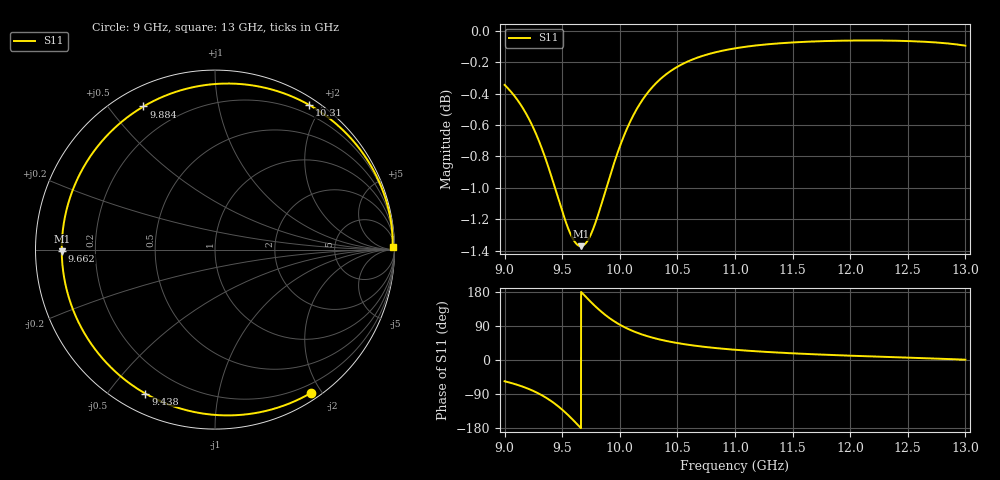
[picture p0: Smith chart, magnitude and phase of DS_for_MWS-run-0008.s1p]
! TOUCHSTONE file generated by CST DESIGN STUDIO
! Date and time: Tue Feb  4 16:05:17 2025
! Project name: C:\Work\MatlabApps\UnitCellOptimizationMatlab\CST\unitcell.cst
! Tree item: Tasks\Sweep1\SPara1\S-Parameters
! Header version: 2024
! Port assignment regex: !\s*Touchstone port\s*([0-9]+)\s*=\s*(CST MWS port|CST DES external port|CST DES block port)\s*(.+)\s* \(\"(.*)\"\)(\s*mode\s*([0-9]+))?.*
! Touchstone port assignment:
! Touchstone port 1 = CST DES external port 1 ("")
# GHz S MA R 50
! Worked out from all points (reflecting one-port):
!   4001 points, 9 GHz to 13 GHz, reference 50 ohm
!   lowest |S11| = -1.4 dB at 9.661 GHz (marker M1), VSWR 12.70, Z = 3.94 - j0.293 ohm
!   phase of S11 starts at -56 deg and turns -303 deg over the sweep
!   S11 on the Smith chart (normalised r, x): 9 GHz: 0.09, -1.87; 9.438 GHz: 0.08, -0.62; 9.662 GHz: 0.08, -0.00; 9.884 GHz: 0.08, +0.62; 10.31 GHz: 0.09, +1.84; 13 GHz: open
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9  0.961 -56.1
9.111  0.9506 -65.6
9.222  0.9358 -78.0
9.342  0.9134 -96.3
9.392  0.9021 -105.8
9.438  0.891 -115.8
9.5  0.8761 -131.1
9.542  0.867 -142.7
9.587  0.8594 -156.0
9.625  0.8553 -167.9
9.661  0.854 -179.3
9.662  0.854 -179.6
9.708  0.8562 165.7
9.756  0.8625 150.9
9.82  0.8757 132.6
9.884  0.8914 116.5
9.939  0.9049 104.6
10  0.9186 93.2
10.073  0.9326 81.8
10.146  0.944 72.5
10.307  0.9616 57.1
10.5  0.9739 44.7
10.719  0.9817 35.2
11  0.9871 27.0
11.5  0.9914 17.6
12  0.9928 11.4
12.5  0.9924 6.3
13  0.9891 0.8
